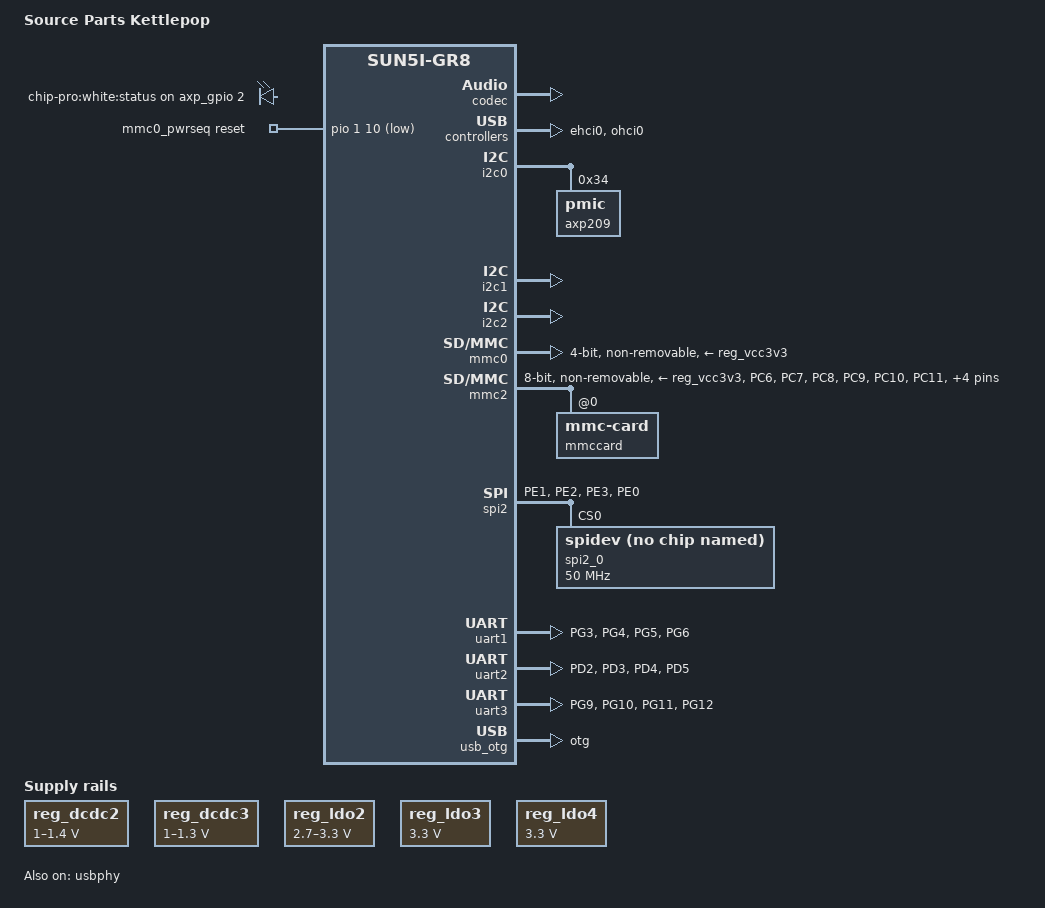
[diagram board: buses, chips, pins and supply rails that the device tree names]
/*
 * Copyright 2016 Free Electrons
 * Copyright 2016 NextThing Co
 * Copyright 2019 Source Parts Inc
 *
 * Aleksandr Gusarov <alexandergusarov@gmail.com>
 *
 * This file is dual-licensed: you can use it either under the terms
 * of the GPL or the X11 license, at your option. Note that this dual
 * licensing only applies to this file, and not this project as a
 * whole.
 *
 *  a) This file is free software; you can redistribute it and/or
 *     modify it under the terms of the GNU General Public License as
 *     published by the Free Software Foundation; either version 2 of the
 *     License, or (at your option) any later version.
 *
 *     This file is distributed in the hope that it will be useful,
 *     but WITHOUT ANY WARRANTY; without even the implied warranty of
 *     MERCHANTABILITY or FITNESS FOR A PARTICULAR PURPOSE.  See the
 *     GNU General Public License for more details.
 *
 * Or, alternatively,
 *
 *  b) Permission is hereby granted, free of charge, to any person
 *     obtaining a copy of this software and associated documentation
 *     files (the "Software"), to deal in the Software without
 *     restriction, including without limitation the rights to use,
 *     copy, modify, merge, publish, distribute, sublicense, and/or
 *     sell copies of the Software, and to permit persons to whom the
 *     Software is furnished to do so, subject to the following
 *     conditions:
 *
 *     The above copyright notice and this permission notice shall be
 *     included in all copies or substantial portions of the Software.
 *
 *     THE SOFTWARE IS PROVIDED "AS IS", WITHOUT WARRANTY OF ANY KIND,
 *     EXPRESS OR IMPLIED, INCLUDING BUT NOT LIMITED TO THE WARRANTIES
 *     OF MERCHANTABILITY, FITNESS FOR A PARTICULAR PURPOSE AND
 *     NONINFRINGEMENT. IN NO EVENT SHALL THE AUTHORS OR COPYRIGHT
 *     HOLDERS BE LIABLE FOR ANY CLAIM, DAMAGES OR OTHER LIABILITY,
 *     WHETHER IN AN ACTION OF CONTRACT, TORT OR OTHERWISE, ARISING
 *     FROM, OUT OF OR IN CONNECTION WITH THE SOFTWARE OR THE USE OR
 *     OTHER DEALINGS IN THE SOFTWARE.
 */

/dts-v1/;
#include "ntc-gr8.dtsi"
#include "sunxi-common-regulators.dtsi"

#include <dt-bindings/gpio/gpio.h>
#include <dt-bindings/input/input.h>
#include <dt-bindings/interrupt-controller/irq.h>

/ {
	model = "Source Parts Kettlepop";
	compatible = "sourceparts,kettlepop",
	             "nextthing,chip-pro", "nextthing,gr8";

	aliases {
		i2c0 = &i2c0;
		i2c1 = &i2c1;
		i2c2 = &i2c2;
		serial0 = &uart1;
		serial1 = &uart2;
		serial2 = &uart3;
	};

	chosen {
		stdout-path = "serial0:115200n8";
	};

	leds {
		compatible = "gpio-leds";

		status {
			label = "chip-pro:white:status";
			gpios = <&axp_gpio 2 GPIO_ACTIVE_HIGH>;
			default-state = "on";
		};
	};

	mmc0_pwrseq: mmc0_pwrseq {
		compatible = "mmc-pwrseq-simple";
		reset-gpios = <&pio 1 10 GPIO_ACTIVE_LOW>; /* PB10 */
	};
};

&codec {
	status = "okay";
};

&ehci0 {
	status = "okay";
};

&i2c0 {
	status = "okay";

	axp209: pmic@34 {
		reg = <0x34>;

		/*
		* The interrupt is routed through the "External Fast
		* Interrupt Request" pin (ball G13 of the module)
		* directly to the main interrupt controller, without
		* any other controller interfering.
		*/
		interrupts = <0>;
	};
};

#include "axp209.dtsi"

&i2c1 {
	pinctrl-names = "default";
	pinctrl-0 = <&i2c1_pins_a>;
	status = "okay";
};

&i2c2 {
	pinctrl-names = "default";
	pinctrl-0 = <&i2c2_pins_a>;
	status = "okay";
};

&i2s0 {
	pinctrl-names = "default";
	pinctrl-0 = <&i2s0_mclk_pin>, <&i2s0_data_pins>;
	status = "disabled";
};

&mmc0 {
	vmmc-supply = <&reg_vcc3v3>;
	mmc-pwrseq = <&mmc0_pwrseq>;
	bus-width = <4>;
	non-removable;
	status = "okay";
};

&mmc2 {
	pinctrl-names = "default";
	pinctrl-0 = <&mmc2_8bit_pins>;
	vmmc-supply = <&reg_vcc3v3>;
	bus-width = <8>;
	non-removable;
	status = "okay";

	mmccard: mmccard@0 {
		reg = <0>;
		compatible = "mmc-card";
	};
};

&ohci0 {
	status = "okay";
};

&otg_sram {
	status = "okay";
};

&pio {
	usb0_id_pin_crumb: usb0-id-pin@0 {
		allwinner,pins = "PG2";
		allwinner,function = "gpio_in";
		allwinner,drive = <SUN4I_PINCTRL_10_MA>;
		allwinner,pull = <SUN4I_PINCTRL_NO_PULL>;
	};

	wifi_reg_on_pin_crumb: wifi-reg-on-pin@0 {
		allwinner,pins = "PB10";
		allwinner,function = "gpio_out";
		allwinner,drive = <SUN4I_PINCTRL_10_MA>;
		allwinner,pull = <SUN4I_PINCTRL_NO_PULL>;
	};

	mmc2_8bit_pins: mmc2-8bit-pins {
		allwinner,pins = "PC6", "PC7", "PC8", "PC9",
		       "PC10", "PC11", "PC12", "PC13",
		       "PC14", "PC15";
		allwinner,function = "mmc2";
		allwinner,drive = <SUN4I_PINCTRL_30_MA>;
		allwinner,pull = <SUN4I_PINCTRL_PULL_UP>;
		drive-strength = <30>;
		bias-pull-up;
	};

	i2s0_data_pins: i2s0-data-pins {
		allwinner,pins = "PB6", "PB7", "PB8", "PB9";
		allwinner,function = "i2s0";
	        allwinner,drive = <SUN4I_PINCTRL_10_MA>;
	        allwinner,pull = <SUN4I_PINCTRL_NO_PULL>;
	};

	i2s0_mclk_pin: i2s0-mclk-pin {
		allwinner,pins = "PB5";
		allwinner,function = "i2s0";
	        allwinner,drive = <SUN4I_PINCTRL_10_MA>;
	        allwinner,pull = <SUN4I_PINCTRL_NO_PULL>;
	};

	uart1_cts_rts_pins: uart1-cts-rts-pins {
		allwinner,pins = "PG5", "PG6";
		allwinner,function = "uart1";
	        allwinner,drive = <SUN4I_PINCTRL_10_MA>;
	        allwinner,pull = <SUN4I_PINCTRL_NO_PULL>;
	};

	uart1_pe_pins: uart1-pe-pins {
		allwinner,pins = "PE10", "PE11";
		allwinner,function = "uart1";
	        allwinner,drive = <SUN4I_PINCTRL_10_MA>;
	        allwinner,pull = <SUN4I_PINCTRL_NO_PULL>;
	};

	uart1_pg_pins: uart1-pg-pins {
		allwinner,pins = "PG3", "PG4";
		allwinner,function = "uart1";
	        allwinner,drive = <SUN4I_PINCTRL_10_MA>;
	        allwinner,pull = <SUN4I_PINCTRL_NO_PULL>;
	};

	uart2_pd_pins: uart2-pd-pins {
		allwinner,pins = "PD2", "PD3";
		allwinner,function = "uart2";
	        allwinner,drive = <SUN4I_PINCTRL_10_MA>;
	        allwinner,pull = <SUN4I_PINCTRL_NO_PULL>;
	};

	uart2_cts_rts_pd_pins: uart2-cts-rts-pd-pins {
		allwinner,pins = "PD4", "PD5";
		allwinner,function = "uart2";
	        allwinner,drive = <SUN4I_PINCTRL_10_MA>;
	        allwinner,pull = <SUN4I_PINCTRL_NO_PULL>;
	};

	uart3_pg_pins: uart3-pg-pins {
		allwinner,pins = "PG9", "PG10";
		allwinner,function = "uart3";
	        allwinner,drive = <SUN4I_PINCTRL_10_MA>;
	        allwinner,pull = <SUN4I_PINCTRL_NO_PULL>;
	};

	uart3_cts_rts_pg_pins: uart3-cts-rts-pg-pins {
		allwinner,pins = "PG11", "PG12";
		allwinner,function = "uart3";
	        allwinner,drive = <SUN4I_PINCTRL_10_MA>;
	        allwinner,pull = <SUN4I_PINCTRL_NO_PULL>;
	};

	pwm0_pin: pwm0-pin {
		allwinner,pins = "PB2";
		allwinner,function = "pwm";
	        allwinner,drive = <SUN4I_PINCTRL_10_MA>;
	        allwinner,pull = <SUN4I_PINCTRL_NO_PULL>;
	};

	pwm1_pins: pwm1-pin {
		allwinner,pins = "PG13";
		allwinner,function = "pwm1";
	        allwinner,drive = <SUN4I_PINCTRL_10_MA>;
	        allwinner,pull = <SUN4I_PINCTRL_NO_PULL>;
	};

	spi2_pins_a: spi2@0 {
	        allwinner,pins = "PE1", "PE2", "PE3";
	        allwinner,function = "spi2";
	        allwinner,drive = <SUN4I_PINCTRL_10_MA>;
	        allwinner,pull = <SUN4I_PINCTRL_NO_PULL>;
	};

	spi2_cs0_pins_a: spi2_cs0@0 {
	        allwinner,pins = "PE0";
	        allwinner,function = "spi2";
	        allwinner,drive = <SUN4I_PINCTRL_10_MA>;
	        allwinner,pull = <SUN4I_PINCTRL_NO_PULL>;
	};
};

&pwm {
	pinctrl-names = "default";
	pinctrl-0 = <&pwm0_pin>, <&pwm1_pins>;
	status = "disabled";
};

&reg_dcdc2 {
	regulator-min-microvolt = <1000000>;
	regulator-max-microvolt = <1400000>;
	regulator-name = "vdd-cpu";
	regulator-always-on;
};

&reg_dcdc3 {
	regulator-min-microvolt = <1000000>;
	regulator-max-microvolt = <1300000>;
	regulator-name = "vdd-sys";
	regulator-always-on;
};

&reg_ldo1 {
	regulator-name = "vdd-rtc";
};

&reg_ldo2 {
	regulator-min-microvolt = <2700000>;
	regulator-max-microvolt = <3300000>;
	regulator-name = "avcc";
	regulator-always-on;
};

/*
 * Both LDO3 and LDO4 are used in parallel to power up the
 * WiFi/BT chip.
 */
&reg_ldo3 {
	regulator-min-microvolt = <3300000>;
	regulator-max-microvolt = <3300000>;
	regulator-name = "vcc-wifi-1";
	regulator-always-on;
};

&reg_ldo4 {
	regulator-min-microvolt = <3300000>;
	regulator-max-microvolt = <3300000>;
	regulator-name = "vcc-wifi-2";
	regulator-always-on;
};

/* Add support for SPI */
&spi2{
	       pinctrl-names = "default";
	       pinctrl-0 = <&spi2_pins_a>,
	                   <&spi2_cs0_pins_a>;
	       status = "okay";
	       spi2_0 {
	               #address-cells = <1>;
	               #size-cells = <0>;
                   /* compatible = "spidev"; */
                   compatible = "rohm,dh2228fv";
	               reg = <0>;
	               spi-max-frequency = <50000000>;
	       };
};

&uart1 {
	pinctrl-names = "default";
	pinctrl-0 = <&uart1_pg_pins>, <&uart1_cts_rts_pins>;
	status = "okay";
};

&uart2 {
	pinctrl-names = "default";
	pinctrl-0 = <&uart2_pd_pins>, <&uart2_cts_rts_pd_pins>;
	status = "okay";
};

&uart3 {
	pinctrl-names = "default";
	pinctrl-0 = <&uart3_pg_pins>, <&uart3_cts_rts_pg_pins>;
	status = "okay";
};

&usb_otg {
	/*
	 * The GR8-EVB has a somewhat interesting design. There's a
	 * pin supposed to control VBUS, an ID pin, a VBUS detect pin,
	 * so everything should work just fine.
	 *
	 * Except that the pin supposed to control VBUS is not
	 * connected to any controllable output, neither to the SoC
	 * through a GPIO or to the PMIC, and it is pulled down,
	 * meaning that we will never be able to enable VBUS on this
	 * board.
	 */
	dr_mode = "otg";
	status = "okay";
};

&usb_power_supply {
	status = "okay";
};

&usbphy {
	pinctrl-names = "default";
	pinctrl-0 = <&usb0_id_pin_crumb>;
	usb0_id_det-gpio = <&pio 6 2 GPIO_ACTIVE_HIGH>; /* PG2 */
	usb0_vbus_power-supply = <&usb_power_supply>;
	usb1_vbus-supply = <&reg_vcc5v0>;
	status = "okay";
};
